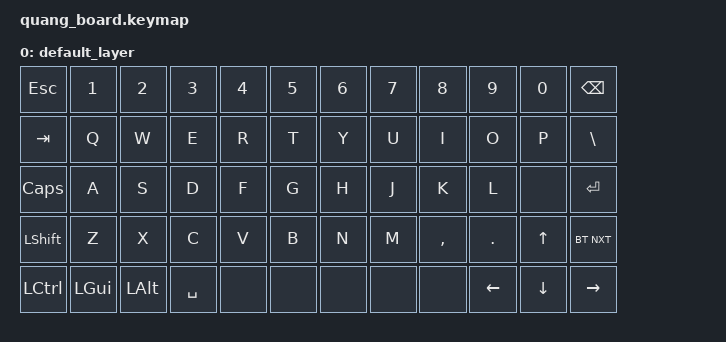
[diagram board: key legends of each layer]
#include <behaviors.dtsi>
#include <dt-bindings/zmk/keys.h>
#include <dt-bindings/zmk/bt.h>
/ {
    keymap {
        compatible = "zmk,keymap";

        default_layer {
            bindings = <
    &kp ESC &kp N1 &kp N2 &kp N3 &kp N4 &kp N5 &kp N6 &kp N7 &kp N8 &kp N9 &kp N0 &kp BSPC
    &kp TAB &kp Q &kp W &kp E &kp R &kp T &kp Y &kp U &kp I &kp O &kp P &kp BSLH
    &kp CAPS &kp A &kp S &kp D &kp F &kp G &kp H &kp J &kp K &kp L &none &kp RET
    &kp LSHIFT &kp Z &kp X &kp C &kp V &kp B &kp N &kp M &kp COMMA &kp DOT &kp UP &bt BT_NXT
    &kp LCTRL &kp LGUI &kp LALT &kp SPACE &none &none &none &none &none &kp LEFT &kp DOWN &kp RIGHT
    >;
        };
    };

};
